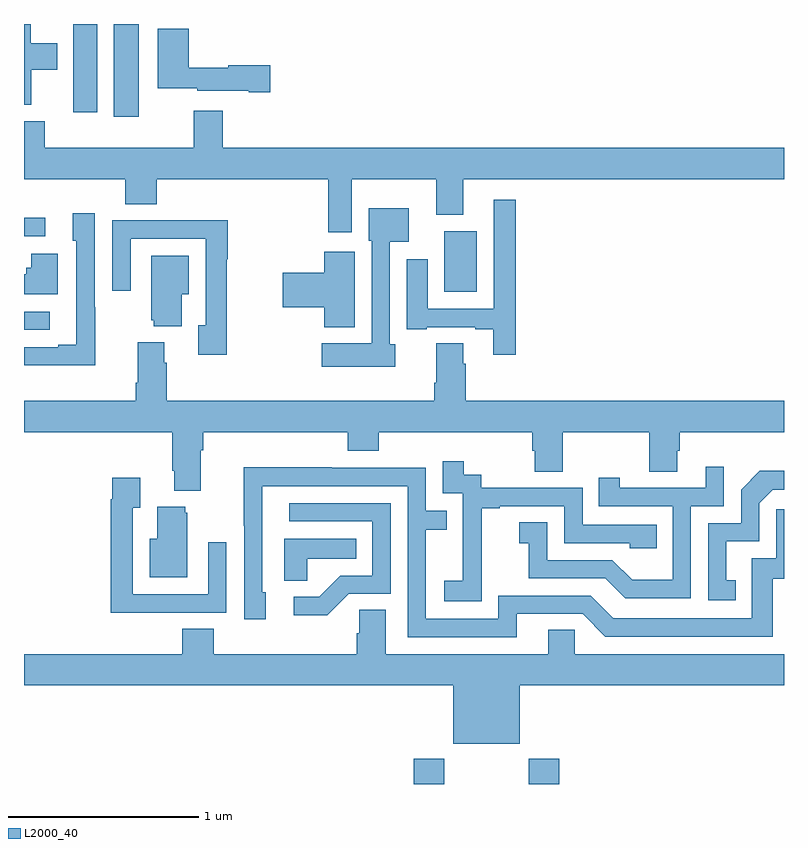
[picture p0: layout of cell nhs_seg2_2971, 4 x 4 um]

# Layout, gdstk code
import gdstk
lib = gdstk.Library(unit=1e-6, precision=1e-09)
def R(c, l, rs):  # rectangles x0, y0, x1, y1
    for r in rs: c.add(gdstk.rectangle(r[:2], r[2:], *l))
def P(c, l, *ps):  # polygons
    for p in ps: c.add(gdstk.Polygon(p, *l))
L2000_40 = (2000, 40)

nhs_seg2_2971 = lib.new_cell('nhs_seg2_2971')
R(nhs_seg2_2971, L2000_40, [(269.051,629.8,269.211,629.932), (269.656,629.8,269.816,629.932), (267,632.19,267.136,632.286), (269.213,632.39,269.383,632.71), (267,632.682,267.112,632.78), (267.473,633.312,267.604,633.8), (267.26,633.336,267.385,633.8)])
P(nhs_seg2_2971, L2000_40, [(267.039,633.56),(267.175,633.56),(267.175,633.7),(267.036,633.7),(267.036,633.8),(267,633.8),(267,633.374),(267.039,633.374)],
  [(268.297,633.584),(268.074,633.584),(268.074,633.571),(267.866,633.571),(267.866,633.775),(267.704,633.775),(267.704,633.461),(267.912,633.461),(267.912,633.449),(268.184,633.449),(268.184,633.442),(268.297,633.442)],
  [(268.726,632.984),(269.171,632.984),(269.171,632.795),(269.311,632.795),(269.311,632.984),(271,632.984),(271,633.148),(268.046,633.148),(268.046,633.343),(267.893,633.343),(267.893,633.148),(267.11,633.148),(267.11,633.289),(267,633.289),(267,632.984),(267.533,632.984),(267.533,632.851),(267.698,632.851),(267.698,632.984),(268.601,632.984),(268.601,632.703),(268.726,632.703)],
  [(269.588,632.875),(269.472,632.875),(269.472,632.301),(269.125,632.301),(269.125,632.563),(269.015,632.563),(269.015,632.193),(269.119,632.193),(269.119,632.205),(269.375,632.205),(269.375,632.193),(269.471,632.193),(269.471,632.058),(269.588,632.058)],
  [(268.954,632.115),(268.926,632.115),(268.926,632.654),(269.026,632.654),(269.026,632.83),(268.814,632.83),(268.814,632.658),(268.83,632.658),(268.83,632.119),(268.566,632.119),(268.566,631.997),(268.954,631.997)],
  [(267.375,632.309),(267.372,632.309),(267.372,632.803),(267.257,632.803),(267.257,632.658),(267.276,632.658),(267.276,632.113),(267.179,632.113),(267.179,632.1),(267,632.1),(267,632.003),(267.375,632.003)],
  [(268.066,632.563),(268.073,632.563),(268.073,632.768),(267.781,632.768),(267.781,632.766),(267.465,632.766),(267.465,632.397),(267.561,632.397),(267.561,632.67),(267.957,632.67),(267.957,632.214),(267.917,632.214),(267.917,632.058),(268.066,632.058)],
  [(268.741,632.602),(268.58,632.602),(268.58,632.492),(268.362,632.492),(268.362,632.309),(268.58,632.309),(268.58,632.204),(268.741,632.204)],
  [(267.178,632.59),(267.039,632.59),(267.039,632.517),(267.013,632.517),(267.013,632.482),(267,632.482),(267,632.378),(267.178,632.378)],
  [(267.829,632.378),(267.868,632.378),(267.868,632.581),(267.671,632.581),(267.671,632.241),(267.683,632.241),(267.683,632.21),(267.829,632.21)],
  [(267.931,631.556),(267.944,631.556),(267.944,631.652),(268.703,631.652),(268.703,631.553),(268.868,631.553),(268.868,631.652),(269.675,631.652),(269.675,631.554),(269.687,631.554),(269.687,631.444),(269.835,631.444),(269.835,631.652),(270.292,631.652),(270.292,631.444),(270.439,631.444),(270.439,631.554),(270.452,631.554),(270.452,631.652),(271,631.652),(271,631.816),(269.324,631.816),(269.324,632.012),(269.311,632.012),(269.311,632.12),(269.171,632.12),(269.171,631.912),(269.159,631.912),(269.159,631.816),(267.752,631.816),(267.752,632.018),(267.739,632.018),(267.739,632.125),(267.599,632.125),(267.599,631.912),(267.587,631.912),(267.587,631.816),(267,631.816),(267,631.652),(267.779,631.652),(267.779,631.45),(267.791,631.45),(267.791,631.343),(267.931,631.343)],
  [(269.409,630.967),(269.408,630.967),(269.408,631.251),(269.503,631.251),(269.503,631.263),(269.844,631.263),(269.844,631.068),(270.189,631.068),(270.189,631.041),(270.329,631.041),(270.329,631.164),(269.94,631.164),(269.94,631.359),(269.406,631.359),(269.406,631.428),(269.314,631.428),(269.314,631.498),(269.205,631.498),(269.205,631.329),(269.31,631.329),(269.31,631.1),(269.309,631.1),(269.309,630.871),(269.211,630.871),(269.211,630.761),(269.409,630.761)],
  [(270.51,631.263),(270.684,631.263),(270.684,631.471),(270.587,631.471),(270.587,631.359),(270.136,631.359),(270.136,631.411),(270.025,631.411),(270.025,631.263),(270.414,631.263),(270.414,630.874),(270.2,630.874),(270.096,630.978),(269.754,630.978),(269.754,631.177),(269.607,631.177),(269.607,631.067),(269.656,631.067),(269.656,630.882),(270.059,630.882),(270.164,630.777),(270.51,630.777)],
  [(269.593,630.696),(269.94,630.696),(270.06,630.576),(270.94,630.576),(270.94,630.879),(271,630.879),(271,631.246),(270.96,631.246),(270.96,630.987),(270.831,630.987),(270.831,630.672),(270.102,630.672),(269.982,630.792),(269.496,630.792),(269.496,630.669),(269.115,630.669),(269.115,631.138),(269.225,631.138),(269.225,631.239),(269.115,631.239),(269.115,631.464),(268.619,631.464),(268.619,631.466),(268.156,631.466),(268.156,631.159),(268.158,631.159),(268.158,630.666),(268.273,630.666),(268.273,630.81),(268.254,630.81),(268.254,631.368),(269.019,631.368),(269.019,630.573),(269.593,630.573)],
  [(270.746,630.873),(270.697,630.873),(270.697,631.077),(270.87,631.077),(270.87,631.278),(270.942,631.35),(271,631.35),(271,631.448),(270.872,631.448),(270.774,631.35),(270.774,631.173),(270.6,631.173),(270.6,630.768),(270.746,630.768)],
  [(267.749,630.702),(268.065,630.702),(268.065,631.072),(267.969,631.072),(267.969,630.798),(267.573,630.798),(267.573,631.255),(267.613,631.255),(267.613,631.411),(267.465,631.411),(267.465,631.298),(267.457,631.298),(267.457,630.701),(267.749,630.701)],
  [(268.71,630.801),(268.929,630.801),(268.929,631.278),(268.395,631.278),(268.395,631.182),(268.833,631.182),(268.833,630.897),(268.664,630.897),(268.553,630.786),(268.419,630.786),(268.419,630.689),(268.597,630.689)],
  [(267.859,631.227),(267.848,631.227),(267.848,631.258),(267.701,631.258),(267.701,631.09),(267.662,631.09),(267.662,630.887),(267.859,630.887)],
  [(268.491,630.986),(268.748,630.986),(268.748,631.09),(268.37,631.09),(268.37,630.871),(268.491,630.871)],
  [(269.608,630.32),(271,630.32),(271,630.484),(269.898,630.484),(269.898,630.611),(269.759,630.611),(269.759,630.484),(268.903,630.484),(268.903,630.716),(268.764,630.716),(268.764,630.593),(268.751,630.593),(268.751,630.484),(267.998,630.484),(267.998,630.617),(267.833,630.617),(267.833,630.484),(267,630.484),(267,630.32),(269.258,630.32),(269.258,630.011),(269.608,630.011)])

lib.write_gds('nhs_seg2_2971.gds')
